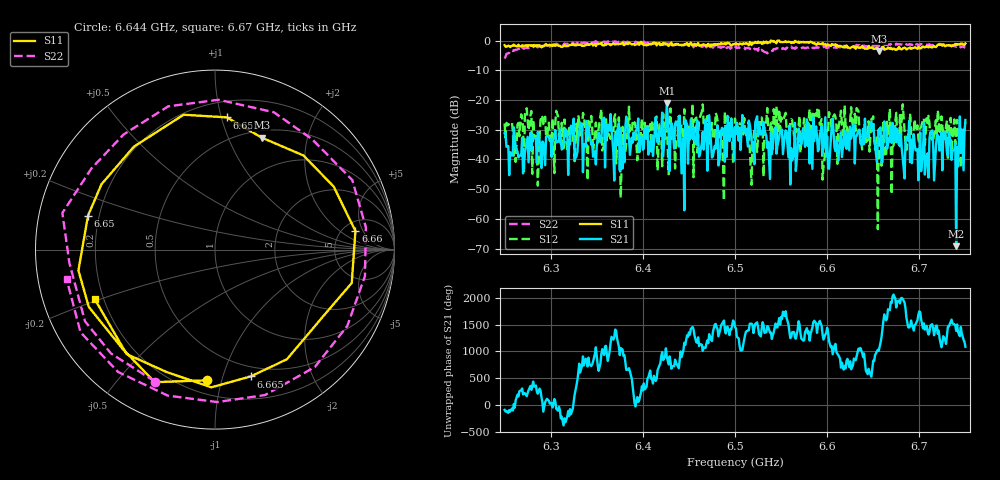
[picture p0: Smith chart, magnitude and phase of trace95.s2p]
# Hz S RI R 50
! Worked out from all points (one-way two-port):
!   401 points, 6.25 GHz to 6.75 GHz, reference 50 ohm
!   highest |S21| = -21.04 dB at 6.426 GHz (marker M1); lowest = -69.2 dB at 6.74 GHz (marker M2)
!   lowest |S11| = -3.4 dB at 6.656 GHz (marker M3), VSWR 5.17, Z = 29 + j66.6 ohm
!   |S11| at or under -10 dB: nowhere
!   |S22| runs from -6.0 to -0.1 dB; largest |S21 - S12| = 0.12
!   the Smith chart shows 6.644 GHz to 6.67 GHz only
!   S11 on the Smith chart (normalised r, x): 6.644 GHz: 0.29, -0.90; 6.65 GHz: 0.16, +0.13; 6.655 GHz: 0.32, +1.04; 6.66 GHz: 6.49, +3.56; 6.665 GHz: 0.40, -1.24; 6.67 GHz: 0.17, -0.19
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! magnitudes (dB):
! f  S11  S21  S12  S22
! 6.25 GHz  -1.5  -31.2  -27.9  -6.0
! 6.334 GHz  -1.7  -28.4  -31.4  -0.8
! 6.368 GHz  -1.0  -37.7  -30.4  -0.3
! 6.374 GHz  -1.2  -27.8  -25.8  -0.4
! 6.386 GHz  -0.8  -38.4  -30.9  -0.6
! 6.418 GHz  -0.8  -30.0  -28.2  -0.8
! 6.426 GHz  -1.0  -21.0  -27.7  -1.1
! 6.5 GHz  -1.1  -29.2  -26.2  -2.8
! 6.584 GHz  -0.7  -43.2  -23.9  -2.4
! 6.598 GHz  -1.1  -25.8  -37.4  -1.8
! 6.605 GHz  -1.1  -28.5  -30.2  -2.4
! 6.644 GHz  -2.7  -32.7  -33.5  -1.9
! 6.65 GHz  -2.7  -28.1  -25.5  -1.7
! 6.655 GHz  -2.6  -33.7  -63.5  -1.6
! 6.656 GHz  -3.4  -30.0  -29.9  -1.7
! 6.66 GHz  -2.1  -40.9  -32.0  -1.4
! 6.665 GHz  -2.7  -36.4  -27.3  -1.4
! 6.668 GHz  -2.7  -32.2  -22.9  -1.2
! 6.67 GHz  -2.8  -34.4  -51.8  -1.5
! 6.73 GHz  -1.5  -37.7  -26.9  -1.5
! 6.74 GHz  -1.5  -69.2  -28.4  -2.0
! 6.75 GHz  -0.9  -26.7  -27.4  -2.3
